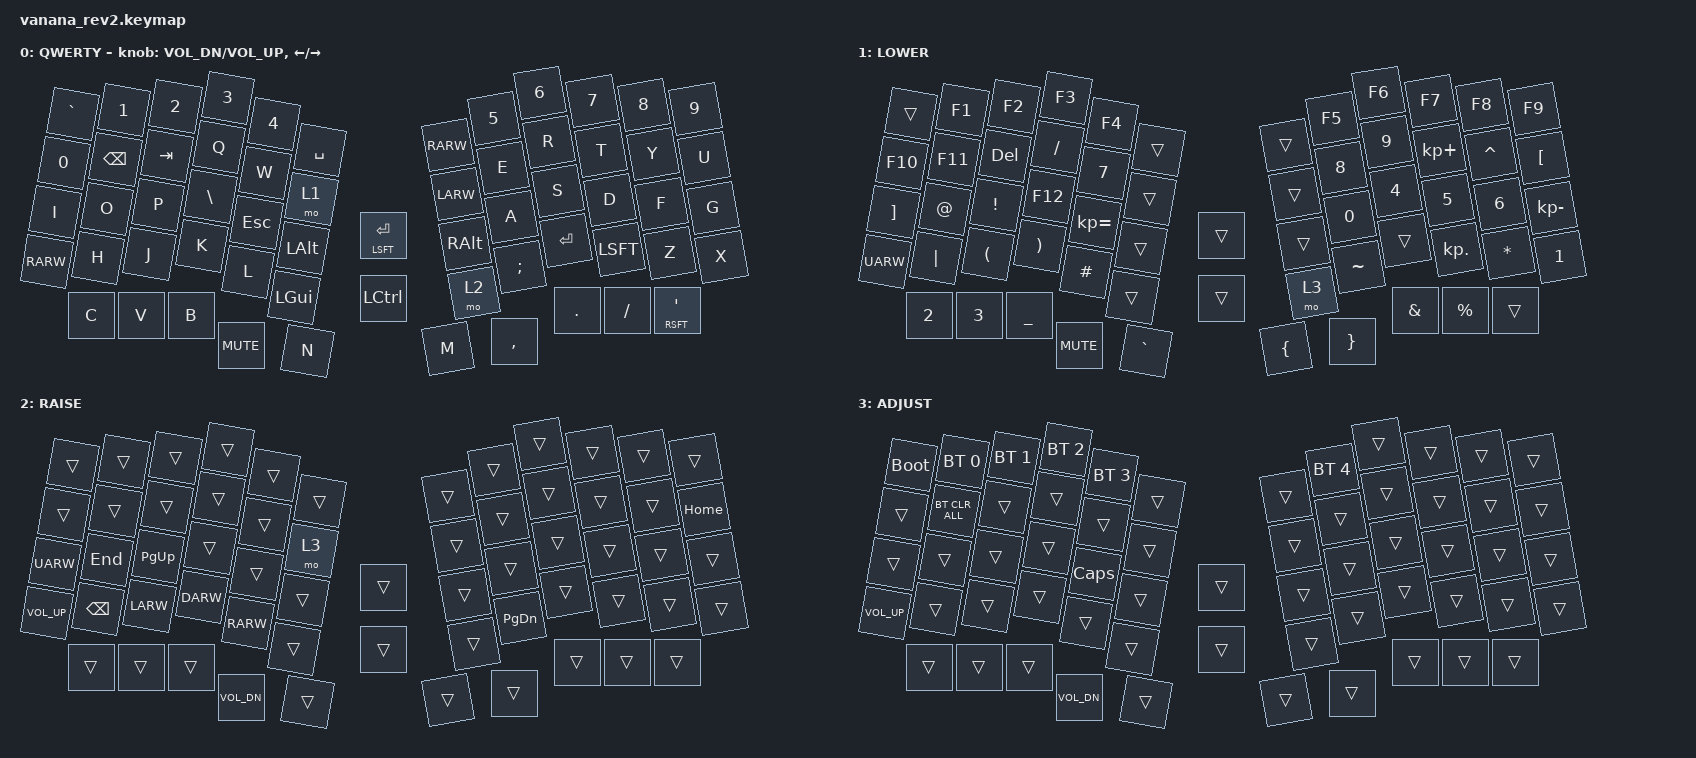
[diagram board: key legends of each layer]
#include <behaviors.dtsi>
#include <dt-bindings/zmk/bt.h>
#include <dt-bindings/zmk/keys.h>

// QWERTY
// ----------------------------------------------              -----------------------------------------------
// |   `   |   1  |   2  |   3  |   4   |   5   |              |   6   |   7   |   8  |   9  |   0   | Bksp  |
// ----------------------------------------------              -----------------------------------------------
// | Tab   |   Q  |   W  |   E  |   R   |   T   |              |   Y   |   U   |   I  |   O  |   P   | \     |
// ----------------------------------------------   ---------  -----------------------------------------------
// | Esc   |   A  |   S  |   D  |   F   |   G   |   | Right |  |   H   |   J   |   K  |   L  |   ;   | Enter |
// ----------------------------------------------   ---------  -----------------------------------------------
// | Shift |   Z  |   X  |   C  |   V   |   B   |   | Mute  |  |   N   |   M   |   ,  |   .  |   /   | "     |
// ----------------------------------------------   ---------  -----------------------------------------------
//         | Ctrl | GUI  |  Alt | Lower | Space |              | Enter | Raise | Alt  | Left | Right |
//         --------------------------------------              ---------------------------------------
// 
/ {
    keymap {
        compatible = "zmk,keymap";

        default_layer {
            display-name = "QWERTY";
            bindings = <
                &kp GRAV    &kp N1      &kp N2      &kp N3      &kp N4    &kp N5                    &kp N6       &kp N7      &kp N8      &kp N9      &kp N0      &kp BKSP
                &kp TAB     &kp Q       &kp W       &kp E       &kp R     &kp T                     &kp Y        &kp U       &kp I       &kp O       &kp P       &kp BSLH
                &kp ESC     &kp A       &kp S       &kp D       &kp F     &kp G         &kp RARW    &kp H        &kp J       &kp K       &kp L       &kp SCLN    &kp RET
                &kp LSFT    &kp Z       &kp X       &kp C       &kp V     &kp B         &kp C_MUTE  &kp N        &kp M       &kp CMMA    &kp DOT     &kp FSLH    &mt RSFT SQT
                            &kp LCTL    &kp LGUI   &kp LALT     &mo 1     &kp SPC                   &mt LSFT RET &mo 2       &kp RALT    &kp LARW    &kp RARW
            >;

            sensor-bindings = <&inc_dec_kp C_VOL_DN C_VOL_UP &inc_dec_kp LEFT RIGHT>;
        };

        lower_layer {
            display-name = "LOWER";
            bindings = <
                &trans        &kp F1      &kp F2      &kp F3      &kp F4      &kp F5                    &kp F6       &kp F7      &kp F8      &kp F9      &kp F10     &kp F11  
                &kp DELETE    &kp FSLH    &kp NUM_7   &kp NUM_8   &kp NUM_9   &kp KP_PLUS               &kp CARET    &kp LBKT    &kp RBKT    &kp AT      &kp EXCL    &kp F12
                &kp KP_EQUAL  &kp NUM_0   &kp NUM_4   &kp NUM_5   &kp NUM_6   &kp KP_MINUS  &kp UARW    &kp PIPE     &kp LPAR    &kp RPAR    &kp HASH    &kp TILDE   &trans
                &kp KP_DOT    &kp STAR    &kp NUM_1   &kp NUM_2   &kp NUM_3   &kp UNDER     &kp C_MUTE  &kp GRAV     &kp LBRC    &kp RBRC    &kp AMPS    &kp PRCNT   &trans
                              &trans      &trans      &trans      &trans      &trans                    &trans       &mo 3       &trans      &trans      &trans
            >;
        };

        raise_layer {
            display-name = "RAISE";
            bindings = <
                &trans      &trans      &trans      &trans      &trans      &trans                      &trans      &trans      &trans      &trans      &trans      &trans  
                &trans      &trans      &trans      &trans      &trans      &trans                      &trans      &kp HOME    &kp UARW    &kp END     &kp PG_UP   &trans
                &trans      &trans      &trans      &trans      &trans      &trans      &kp C_VOL_UP    &kp BSPC    &kp LARW    &kp DARW    &kp RARW    &kp PG_DN   &trans 
                &trans      &trans      &trans      &trans      &trans      &trans      &kp C_VOL_DN    &trans      &trans      &trans      &trans      &trans      &trans 
                            &trans      &trans      &trans      &mo 3       &trans                      &trans      &trans      &trans      &trans      &trans
            >;
        };

        adjust_layer {
            display-name = "ADJUST";
            bindings = <
                &bootloader &bt BT_SEL 0    &bt BT_SEL 1    &bt BT_SEL 2    &bt BT_SEL 3    &bt BT_SEL 4                    &trans      &trans      &trans       &trans      &trans      &bt BT_CLR_ALL
                &trans      &trans          &trans          &trans          &trans          &trans                          &trans      &trans      &trans       &trans      &trans      &trans
                &kp CAPS    &trans          &trans          &trans          &trans          &trans          &kp C_VOL_UP    &trans      &trans      &trans       &trans      &trans      &trans  
                &trans      &trans          &trans          &trans          &trans          &trans          &kp C_VOL_DN    &trans      &trans      &trans       &trans      &trans      &trans  
                            &trans          &trans          &trans          &trans          &trans                          &trans      &trans      &trans       &trans      &trans
            >;
        };
    };
};
